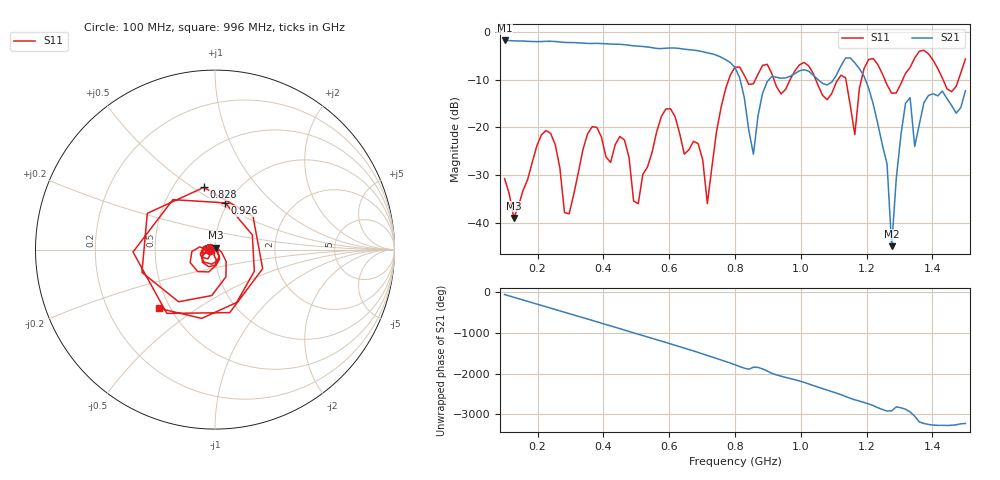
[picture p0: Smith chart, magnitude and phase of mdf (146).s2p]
! NanoVNA-App
! Date: 2025-09-25 15:39:33
! Start: 100MHz Stop: 1,5GHz Points: 101
! S-Parameter data: F S11 S21 S12 S22
# Hz S RI R 50
!  Frequency  S11_Real  S11_Imag  S21_Real  S21_Imag  S12_Real  S12_Imag  S22_Real  S22_Imag
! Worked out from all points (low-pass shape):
!   101 points, 100 MHz to 1.5 GHz, reference 50 ohm
!   highest |S21| = -1.80 dB at 100 MHz (marker M1); lowest = -44.9 dB at 1.276 GHz (marker M2)
!   |S21| within 3 dB of the highest: start of sweep to 739.3 MHz
!   lowest |S11| = -39.0 dB at 128 MHz (marker M3), VSWR 1.02, Z = 50.3 + j1.07 ohm
!   |S11| at or under -10 dB: start of sweep to 781.1 MHz; 1.045 GHz to 1.113 GHz (67.83 MHz wide, 6.29 % of centre); 1.255 GHz to 1.31 GHz (54.45 MHz wide, 4.25 % of centre) (the widest 3 of 7)
!   S12 and S22 are empty: the file has one direction only
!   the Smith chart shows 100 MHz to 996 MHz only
!   S11 on the Smith chart (normalised r, x): 100 MHz: 0.94, -0.01; 828 MHz: 0.70, +0.56; 926 MHz: 0.97, +0.54; 996 MHz: 0.44, -0.36
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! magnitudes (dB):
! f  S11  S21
! 100 MHz  -30.8  -1.8
! 128 MHz  -39.0  -1.9
! 212 MHz  -21.6  -2.0
! 282 MHz  -37.9  -2.2
! 338 MHz  -24.7  -2.4
! 464 MHz  -22.7  -2.7
! 506 MHz  -36.0  -3.0
! 576 MHz  -17.8  -3.5
! 716 MHz  -36.0  -4.4
! 800 MHz  -7.4  -7.5
! 828 MHz  -9.1  -13.7
! 856 MHz  -10.9  -25.7
! 926 MHz  -11.5  -9.5
! 996 MHz  -6.9  -8.2
! 1.038 GHz  -8.8  -9.1
! 1.164 GHz  -21.5  -6.5
! 1.192 GHz  -7.7  -9.3
! 1.262 GHz  -11.1  -27.7
! 1.276 GHz  -12.9  -44.9
! 1.318 GHz  -8.7  -15.0
! 1.346 GHz  -5.5  -24.0
! 1.5 GHz  -5.7  -12.4
